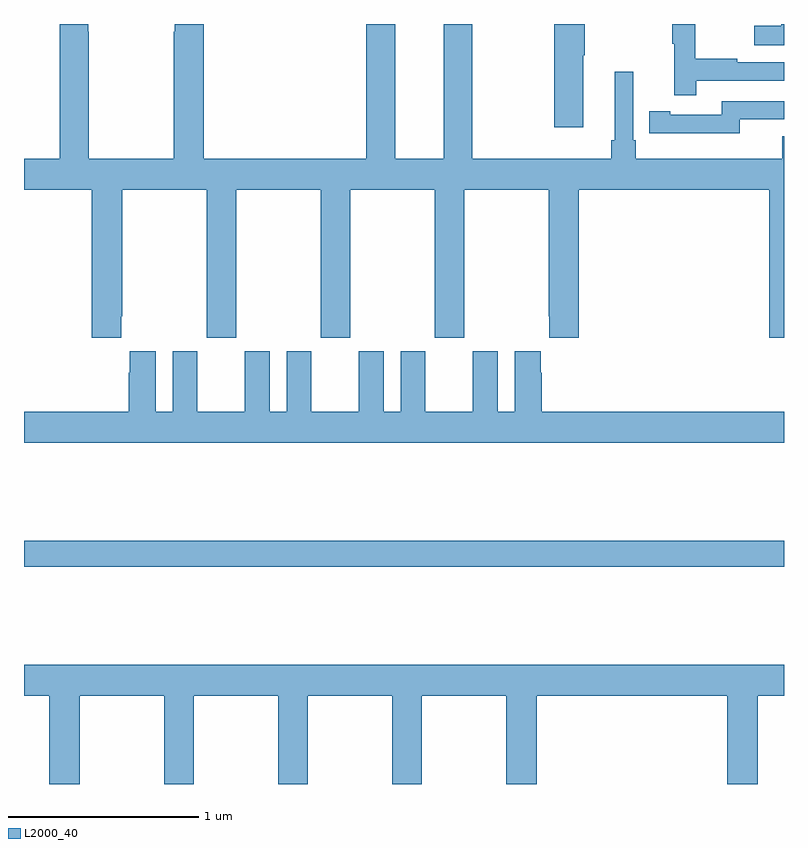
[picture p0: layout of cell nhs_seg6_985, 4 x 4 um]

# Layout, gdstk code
import gdstk
lib = gdstk.Library(unit=1e-6, precision=1e-09)
def R(c, l, rs):  # rectangles x0, y0, x1, y1
    for r in rs: c.add(gdstk.rectangle(r[:2], r[2:], *l))
def P(c, l, *ps):  # polygons
    for p in ps: c.add(gdstk.Polygon(p, *l))
L2000_40 = (2000, 40)

nhs_seg6_985 = lib.new_cell('nhs_seg6_985')
R(nhs_seg6_985, L2000_40, [(171,986.644,175,986.78)])
P(nhs_seg6_985, L2000_40, [(173.944,989.335),(173.952,989.335),(173.952,989.5),(173.791,989.5),(173.791,988.956),(173.944,988.956)],
  [(173.21,988.792),(172.954,988.792),(172.954,989.5),(172.802,989.5),(172.802,988.792),(171.947,988.792),(171.947,989.5),(171.793,989.5),(171.793,989.459),(171.787,989.459),(171.787,988.792),(171.342,988.792),(171.342,989.459),(171.339,989.459),(171.339,989.5),(171.189,989.5),(171.189,989.459),(171.187,989.459),(171.187,988.792),(171,988.792),(171,988.628),(171.356,988.628),(171.356,987.849),(171.511,987.849),(171.511,987.961),(171.516,987.961),(171.516,988.628),(171.961,988.628),(171.961,987.849),(172.116,987.849),(172.116,988.628),(172.561,988.628),(172.561,987.849),(172.716,987.849),(172.716,988.628),(173.161,988.628),(173.161,987.849),(173.316,987.849),(173.316,988.628),(173.761,988.628),(173.761,987.961),(173.765,987.961),(173.765,987.849),(173.921,987.849),(173.921,988.628),(174.923,988.628),(174.923,987.849),(175,987.849),(175,988.909),(174.992,988.909),(174.992,988.792),(174.221,988.792),(174.221,988.888),(174.207,988.888),(174.207,989.248),(174.11,989.248),(174.11,988.888),(174.091,988.888),(174.091,988.792),(173.358,988.792),(173.358,989.5),(173.21,989.5)],
  [(174.539,989.202),(175,989.202),(175,989.298),(174.755,989.298),(174.755,989.318),(174.532,989.318),(174.532,989.5),(174.411,989.5),(174.411,989.395),(174.422,989.395),(174.422,989.124),(174.539,989.124)],
  [(175,989.5),(174.986,989.5),(174.986,989.491),(174.843,989.491),(174.843,989.387),(175,989.387)],
  [(174.768,988.998),(175,988.998),(175,989.094),(174.672,989.094),(174.672,989.022),(174.4,989.022),(174.4,989.042),(174.292,989.042),(174.292,988.926),(174.4,988.926),(174.4,988.925),(174.768,988.925)],
  [(175,987.46),(173.726,987.46),(173.726,987.665),(173.719,987.665),(173.719,987.778),(173.582,987.778),(173.582,987.46),(173.494,987.46),(173.494,987.778),(173.363,987.778),(173.363,987.46),(173.113,987.46),(173.113,987.778),(172.982,987.778),(172.982,987.46),(172.894,987.46),(172.894,987.778),(172.763,987.778),(172.763,987.46),(172.513,987.46),(172.513,987.778),(172.382,987.778),(172.382,987.46),(172.294,987.46),(172.294,987.778),(172.163,987.778),(172.163,987.46),(171.913,987.46),(171.913,987.778),(171.782,987.778),(171.782,987.46),(171.694,987.46),(171.694,987.778),(171.557,987.778),(171.557,987.665),(171.551,987.665),(171.551,987.46),(171,987.46),(171,987.296),(175,987.296)],
  [(171.294,985.964),(171.739,985.964),(171.739,985.5),(171.894,985.5),(171.894,985.964),(172.339,985.964),(172.339,985.5),(172.494,985.5),(172.494,985.964),(172.939,985.964),(172.939,985.5),(173.094,985.5),(173.094,985.964),(173.539,985.964),(173.539,985.5),(173.699,985.5),(173.699,985.964),(174.701,985.964),(174.701,985.5),(174.861,985.5),(174.861,985.964),(175,985.964),(175,986.128),(171,986.128),(171,985.964),(171.134,985.964),(171.134,985.5),(171.294,985.5)])

lib.write_gds('nhs_seg6_985.gds')
